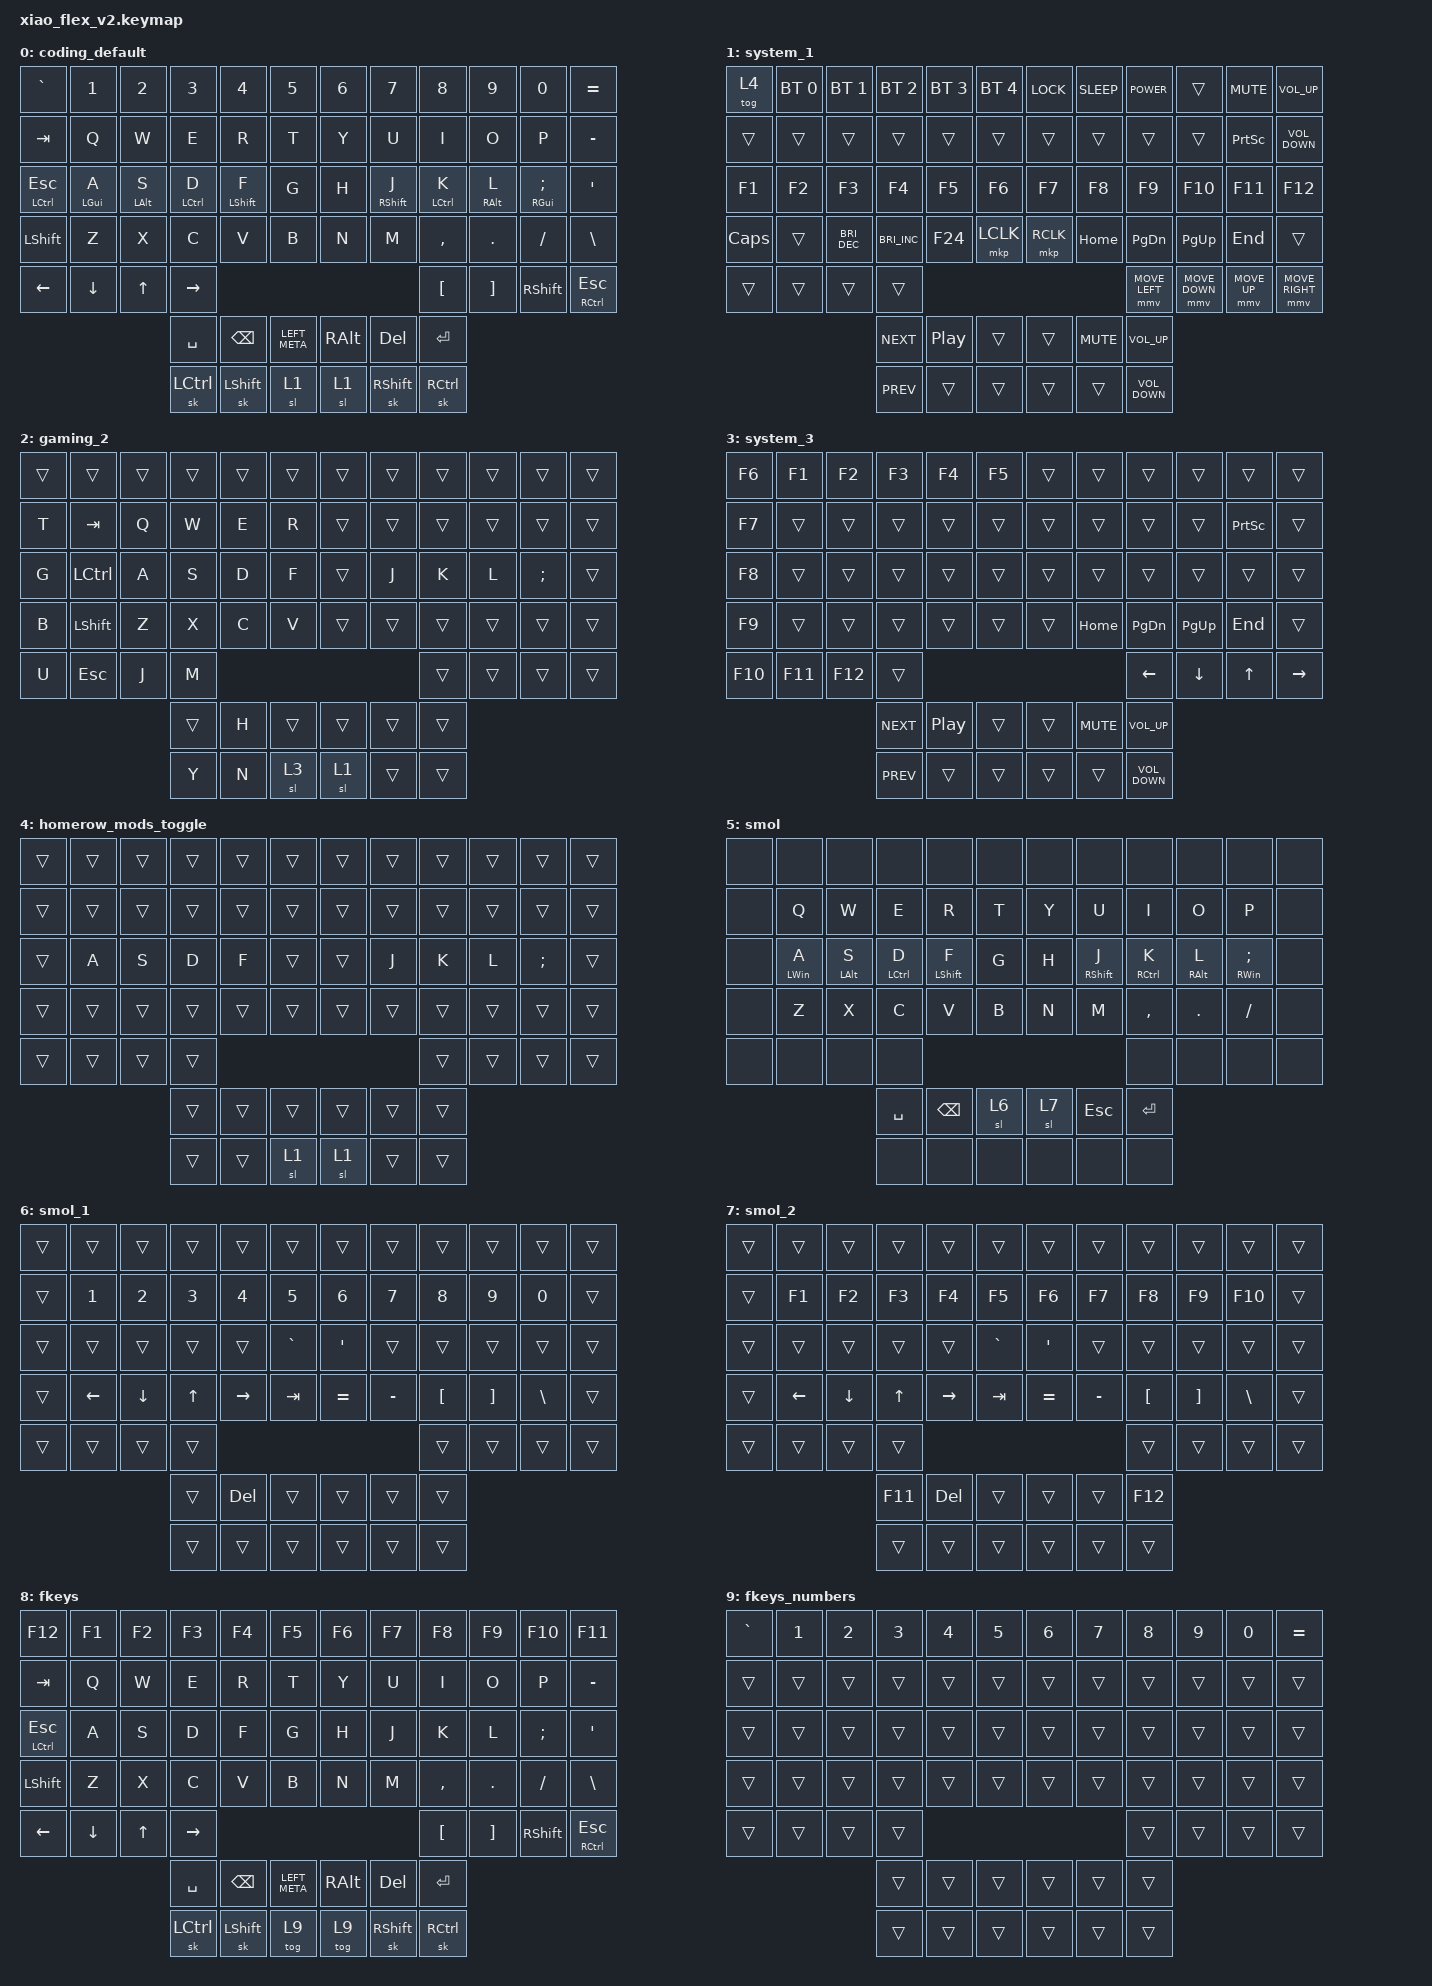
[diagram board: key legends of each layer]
/* 
 * Copyright (c) 2020 The ZMK Contributors
 *
 * SPDX-License-Identifier: MIT
 */

#include <behaviors.dtsi>
#include <dt-bindings/zmk/bt.h>
#include <dt-bindings/zmk/keys.h>
#include <dt-bindings/zmk/pointing.h>

/ {
    combos {
        compatible = "zmk,combos";

        gaming_mode {
            bindings = <&tog 2>;
            key-positions = <65 64>;
        };

        smol {
            bindings = <&tog 5>;
            key-positions = <58 59>;
        };

        bt_clr_l {
            bindings = <&bt BT_CLR>;
            key-positions = <0 36 64>;
        };

        bt_clr_r {
            bindings = <&bt BT_CLR>;
            key-positions = <0 36 65>;
        };

        fkeys {
            bindings = <&tog 8>;
            key-positions = <48 49 54 55>;
        };
    };

    behaviors {
        hml: hml {
            compatible = "zmk,behavior-hold-tap";
            label = "HOMEROW_MODS_LEFT";
            bindings = <&kp>, <&kp>;

            #binding-cells = <2>;
            tapping-term-ms = <180>;
            flavor = "tap-preferred";
            require-prior-idle-ms = <110>;
            hold-trigger-key-positions = <31 32 33 34>;
            quick-tap-ms = <180>;
            hold-trigger-on-release;
        };

        ctrl_esc: ctrl_esc {
            compatible = "zmk,behavior-hold-tap";
            label = "CTRL_ESC";
            bindings = <&kp>, <&kp>;

            #binding-cells = <2>;
            tapping-term-ms = <140>;
            flavor = "hold-preferred";
            hold-trigger-key-positions = <0 1 2 3 4 5 6 7 8 9 10 11 12 13 14 15 16 17 18 19 20 21 22 23 25 26 27 28 29 30 31 32 33 34 35 36 37 38 39 40 41 42 43 44 45 46 47 48 49 50 51 52 53 54 56 57 58 59 60 61 62 63 64 65 66 67>;
            quick-tap-ms = <100>;
        };

        hmr: hmr {
            compatible = "zmk,behavior-hold-tap";
            label = "HOMEROW_MODS_RIGHT";
            bindings = <&kp>, <&kp>;

            #binding-cells = <2>;
            tapping-term-ms = <180>;
            flavor = "tap-preferred";
            require-prior-idle-ms = <110>;
            hold-trigger-key-positions = <24 25 26 27 28>;
            quick-tap-ms = <180>;
            hold-trigger-on-release;
        };

        bt_hold_3s: bt_hold_3s {
            compatible = "zmk,behavior-hold-tap";
            label = "BT_HOLD_3S";
            bindings = <&bt>, <&trans>;

            #binding-cells = <2>;
            tapping-term-ms = <3000>;
            flavor = "tap-preferred";
            hold-trigger-on-release;
        };
    };

    keymap {
        compatible = "zmk,keymap";

        coding_default {
            bindings = <
&kp GRAVE                      &kp N1           &kp N2           &kp N3            &kp N4             &kp N5           &kp N6         &kp N7              &kp N8             &kp N9             &kp N0                    &kp EQUAL
&kp TAB                        &kp Q            &kp W            &kp E             &kp R              &kp T            &kp Y          &kp U               &kp I              &kp O              &kp P                     &kp MINUS
&ctrl_esc LEFT_CONTROL ESCAPE  &hml LEFT_GUI A  &hml LEFT_ALT S  &hml LCTRL D      &hml LEFT_SHIFT F  &kp G            &kp H          &hmr RIGHT_SHIFT J  &hmr LCTRL K       &hmr RIGHT_ALT L   &hmr RIGHT_GUI SEMICOLON  &kp SQT
&kp LSHFT                      &kp Z            &kp X            &kp C             &kp V              &kp B            &kp N          &kp M               &kp COMMA          &kp DOT            &kp FSLH                  &kp BSLH
&kp LEFT                       &kp DOWN         &kp UP_ARROW     &kp RIGHT                                                                                &kp LEFT_BRACKET   &kp RIGHT_BRACKET  &kp RIGHT_SHIFT           &ctrl_esc RCTRL ESC
                                                                 &kp SPACE         &kp BACKSPACE      &kp LEFT_META    &kp RIGHT_ALT  &kp DEL             &kp ENTER
                                                                 &sk LEFT_CONTROL  &sk LEFT_SHIFT     &sl 1            &sl 1          &sk RIGHT_SHIFT     &sk RIGHT_CONTROL
            >;
        };

        system_1 {
            bindings = <
&tog 4    &bt BT_SEL 0  &bt BT_SEL 1   &bt BT_SEL 2          &bt BT_SEL 3  &bt BT_SEL 4    &kp K_LOCK  &kp C_SLEEP  &kp C_POWER        &trans          &kp C_MUTE       &kp C_VOLUME_UP
&trans    &trans        &trans         &trans                &trans        &trans          &trans      &trans       &trans             &trans          &kp PRINTSCREEN  &kp C_VOLUME_DOWN
&kp F1    &kp F2        &kp F3         &kp F4                &kp F5        &kp F6          &kp F7      &kp F8       &kp F9             &kp F10         &kp F11          &kp F12
&kp CAPS  &trans        &kp C_BRI_DEC  &kp C_BRIGHTNESS_INC  &kp F24       &mkp LCLK       &mkp RCLK   &kp HOME     &kp PAGE_DOWN      &kp PAGE_UP     &kp END          &trans
&trans    &trans        &trans         &trans                                                                       &mmv MOVE_LEFT     &mmv MOVE_DOWN  &mmv MOVE_UP     &mmv MOVE_RIGHT
                                       &kp C_NEXT            &kp C_PP      &trans          &trans      &kp C_MUTE   &kp C_VOLUME_UP
                                       &kp C_PREV            &trans        &trans          &trans      &trans       &kp C_VOLUME_DOWN
            >;
        };

        gaming_2 {
            bindings = <
&trans  &trans            &trans  &trans  &trans  &trans    &trans  &trans  &trans  &trans  &trans         &trans
&kp T   &kp TAB           &kp Q   &kp W   &kp E   &kp R     &trans  &trans  &trans  &trans  &trans         &trans
&kp G   &kp LEFT_CONTROL  &kp A   &kp S   &kp D   &kp F     &trans  &kp J   &kp K   &kp L   &kp SEMICOLON  &trans
&kp B   &kp LSHFT         &kp Z   &kp X   &kp C   &kp V     &trans  &trans  &trans  &trans  &trans         &trans
&kp U   &kp ESC           &kp J   &kp M                                     &trans  &trans  &trans         &trans
                                  &trans  &kp H   &trans    &trans  &trans  &trans
                                  &kp Y   &kp N   &sl 3     &sl 1   &trans  &trans
            >;
        };

        system_3 {
            bindings = <
&kp F6   &kp F1   &kp F2   &kp F3      &kp F4    &kp F5    &trans  &trans      &trans             &trans       &trans           &trans
&kp F7   &trans   &trans   &trans      &trans    &trans    &trans  &trans      &trans             &trans       &kp PRINTSCREEN  &trans
&kp F8   &trans   &trans   &trans      &trans    &trans    &trans  &trans      &trans             &trans       &trans           &trans
&kp F9   &trans   &trans   &trans      &trans    &trans    &trans  &kp HOME    &kp PAGE_DOWN      &kp PAGE_UP  &kp END          &trans
&kp F10  &kp F11  &kp F12  &trans                                              &kp LEFT           &kp DOWN     &kp UP_ARROW     &kp RIGHT
                           &kp C_NEXT  &kp C_PP  &trans    &trans  &kp C_MUTE  &kp C_VOLUME_UP
                           &kp C_PREV  &trans    &trans    &trans  &trans      &kp C_VOLUME_DOWN
            >;
        };

        homerow_mods_toggle {
            bindings = <
&trans  &trans  &trans  &trans  &trans  &trans    &trans  &trans  &trans  &trans  &trans         &trans
&trans  &trans  &trans  &trans  &trans  &trans    &trans  &trans  &trans  &trans  &trans         &trans
&trans  &kp A   &kp S   &kp D   &kp F   &trans    &trans  &kp J   &kp K   &kp L   &kp SEMICOLON  &trans
&trans  &trans  &trans  &trans  &trans  &trans    &trans  &trans  &trans  &trans  &trans         &trans
&trans  &trans  &trans  &trans                                    &trans  &trans  &trans         &trans
                        &trans  &trans  &trans    &trans  &trans  &trans
                        &trans  &trans  &sl 1     &sl 1   &trans  &trans
            >;
        };

        smol {
            bindings = <
&none  &none            &none            &none         &none              &none    &none  &none               &none         &none             &none                     &none
&none  &kp Q            &kp W            &kp E         &kp R              &kp T    &kp Y  &kp U               &kp I         &kp O             &kp P                     &none
&none  &hml LEFT_WIN A  &hml LEFT_ALT S  &hml LCTRL D  &hml LEFT_SHIFT F  &kp G    &kp H  &hmr RIGHT_SHIFT J  &hmr RCTRL K  &hmr RIGHT_ALT L  &hmr RIGHT_WIN SEMICOLON  &none
&none  &kp Z            &kp X            &kp C         &kp V              &kp B    &kp N  &kp M               &kp COMMA     &kp DOT           &kp SLASH                 &none
&none  &none            &none            &none                                                                &none         &none             &none                     &none
                                         &kp SPACE     &kp BSPC           &sl 6    &sl 7  &kp ESCAPE          &kp ENTER
                                         &none         &none              &none    &none  &none               &none
            >;
        };

        smol_1 {
            bindings = <
&trans  &trans        &trans    &trans        &trans      &trans       &trans     &trans     &trans            &trans             &trans         &trans
&trans  &kp NUMBER_1  &kp N2    &kp N3        &kp N4      &kp N5       &kp N6     &kp N7     &kp N8            &kp N9             &kp N0         &trans
&trans  &trans        &trans    &trans        &trans      &kp GRAVE    &kp SQT    &trans     &trans            &trans             &trans         &trans
&trans  &kp LEFT      &kp DOWN  &kp UP_ARROW  &kp RIGHT   &kp TAB      &kp EQUAL  &kp MINUS  &kp LEFT_BRACKET  &kp RIGHT_BRACKET  &kp BACKSLASH  &trans
&trans  &trans        &trans    &trans                                                       &trans            &trans             &trans         &trans
                                &trans        &kp DELETE  &trans       &trans     &trans     &trans
                                &trans        &trans      &trans       &trans     &trans     &trans
            >;
        };

        smol_2 {
            bindings = <
&trans  &trans    &trans    &trans   &trans      &trans       &trans     &trans     &trans    &trans    &trans         &trans
&trans  &kp F1    &kp F2    &kp F3   &kp F4      &kp F5       &kp F6     &kp F7     &kp F8    &kp F9    &kp F10        &trans
&trans  &trans    &trans    &trans   &trans      &kp GRAVE    &kp SQT    &trans     &trans    &trans    &trans         &trans
&trans  &kp LEFT  &kp DOWN  &kp UP   &kp RIGHT   &kp TAB      &kp EQUAL  &kp MINUS  &kp LBKT  &kp RBKT  &kp BACKSLASH  &trans
&trans  &trans    &trans    &trans                                                  &trans    &trans    &trans         &trans
                            &kp F11  &kp DELETE  &trans       &trans     &trans     &kp F12
                            &trans   &trans      &trans       &trans     &trans     &trans
            >;
        };

        fkeys {
            bindings = <
&kp F12                        &kp F1    &kp F2        &kp F3            &kp F4          &kp F5           &kp F6         &kp F7           &kp F8             &kp F9             &kp F10          &kp F11
&kp TAB                        &kp Q     &kp W         &kp E             &kp R           &kp T            &kp Y          &kp U            &kp I              &kp O              &kp P            &kp MINUS
&ctrl_esc LEFT_CONTROL ESCAPE  &kp A     &kp S         &kp D             &kp F           &kp G            &kp H          &kp J            &kp K              &kp L              &kp SEMI         &kp SQT
&kp LSHFT                      &kp Z     &kp X         &kp C             &kp V           &kp B            &kp N          &kp M            &kp COMMA          &kp DOT            &kp FSLH         &kp BSLH
&kp LEFT                       &kp DOWN  &kp UP_ARROW  &kp RIGHT                                                                          &kp LEFT_BRACKET   &kp RIGHT_BRACKET  &kp RIGHT_SHIFT  &ctrl_esc RCTRL ESC
                                                       &kp SPACE         &kp BACKSPACE   &kp LEFT_META    &kp RIGHT_ALT  &kp DEL          &kp ENTER
                                                       &sk LEFT_CONTROL  &sk LEFT_SHIFT  &tog 9           &tog 9         &sk RIGHT_SHIFT  &sk RIGHT_CONTROL
            >;
        };

        fkeys_numbers {
            bindings = <
&kp GRAVE  &kp N1  &kp N2  &kp N3  &kp N4  &kp N5    &kp N6  &kp N7  &kp N8  &kp N9  &kp N0  &kp EQUAL
&trans     &trans  &trans  &trans  &trans  &trans    &trans  &trans  &trans  &trans  &trans  &trans
&trans     &trans  &trans  &trans  &trans  &trans    &trans  &trans  &trans  &trans  &trans  &trans
&trans     &trans  &trans  &trans  &trans  &trans    &trans  &trans  &trans  &trans  &trans  &trans
&trans     &trans  &trans  &trans                                    &trans  &trans  &trans  &trans
                           &trans  &trans  &trans    &trans  &trans  &trans
                           &trans  &trans  &trans    &trans  &trans  &trans
            >;
        };
    };
};
